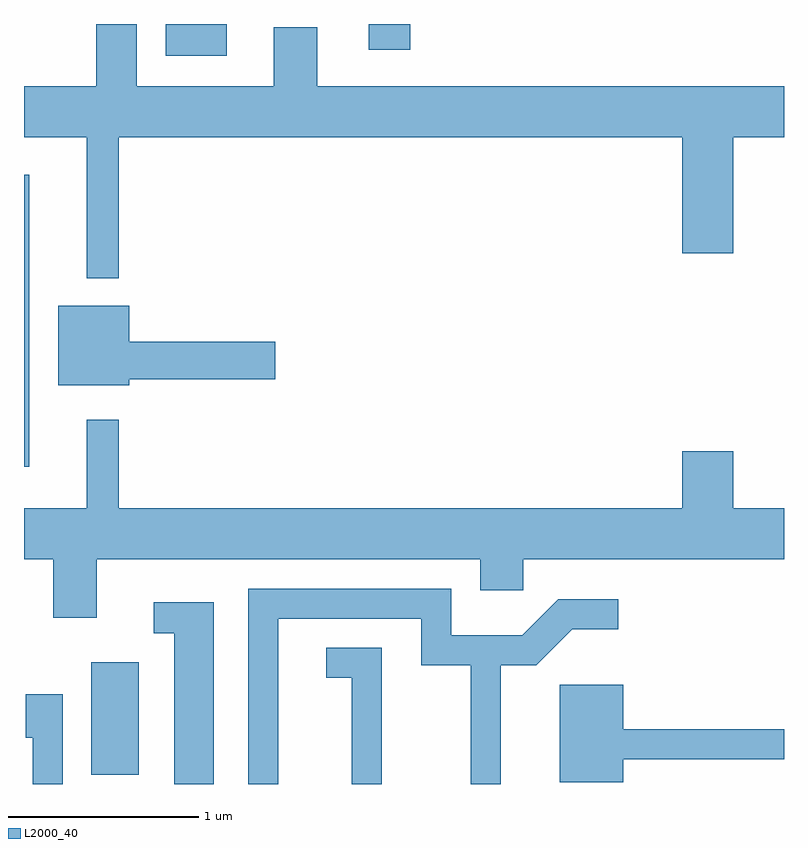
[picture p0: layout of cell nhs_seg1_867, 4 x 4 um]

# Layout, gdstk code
import gdstk
lib = gdstk.Library(unit=1e-6, precision=1e-09)
def R(c, l, rs):  # rectangles x0, y0, x1, y1
    for r in rs: c.add(gdstk.rectangle(r[:2], r[2:], *l))
def P(c, l, *ps):  # polygons
    for p in ps: c.add(gdstk.Polygon(p, *l))
L2000_40 = (2000, 40)

nhs_seg1_867 = lib.new_cell('nhs_seg1_867')
R(nhs_seg1_867, L2000_40, [(211.966,911.761,212.214,912.354), (211.611,913.383,211.639,914.919), (212.356,915.546,212.679,915.712), (213.426,915.576,213.644,915.712)])
P(nhs_seg1_867, L2000_40, [(212.109,915.116),(215.076,915.116),(215.076,914.506),(215.344,914.506),(215.344,915.116),(215.611,915.116),(215.611,915.384),(213.154,915.384),(213.154,915.694),(212.926,915.694),(212.926,915.384),(212.204,915.384),(212.204,915.712),(211.991,915.712),(211.991,915.384),(211.611,915.384),(211.611,915.116),(211.941,915.116),(211.941,914.373),(212.109,914.373)],
  [(212.164,913.841),(212.934,913.841),(212.934,914.039),(212.164,914.039),(212.164,914.229),(211.791,914.229),(211.791,913.811),(212.164,913.811)],
  [(211.994,912.896),(214.011,912.896),(214.011,912.731),(214.239,912.731),(214.239,912.896),(215.611,912.896),(215.611,913.164),(215.344,913.164),(215.344,913.464),(215.076,913.464),(215.076,913.164),(212.109,913.164),(212.109,913.628),(211.941,913.628),(211.941,913.164),(211.611,913.164),(211.611,912.896),(211.766,912.896),(211.766,912.586),(211.994,912.586)],
  [(212.949,912.581),(213.701,912.581),(213.701,912.336),(213.961,912.336),(213.961,911.712),(214.119,911.712),(214.119,912.336),(214.307,912.336),(214.497,912.526),(214.738,912.526),(214.738,912.684),(214.424,912.684),(214.234,912.494),(213.859,912.494),(213.859,912.739),(212.791,912.739),(212.791,911.712),(212.949,911.712)],
  [(212.609,912.669),(212.293,912.669),(212.293,912.506),(212.401,912.506),(212.401,911.712),(212.609,911.712)],
  [(213.494,912.429),(213.203,912.429),(213.203,912.271),(213.336,912.271),(213.336,911.712),(213.494,911.712)],
  [(214.764,911.841),(215.611,911.841),(215.611,911.999),(214.764,911.999),(214.764,912.234),(214.431,912.234),(214.431,911.721),(214.764,911.721)],
  [(211.814,912.184),(211.621,912.184),(211.621,911.956),(211.656,911.956),(211.656,911.712),(211.814,911.712)])

lib.write_gds('nhs_seg1_867.gds')
